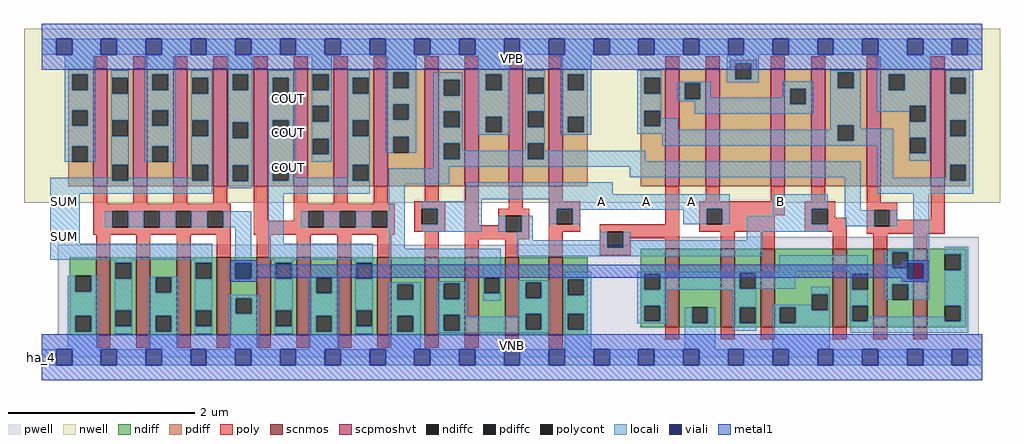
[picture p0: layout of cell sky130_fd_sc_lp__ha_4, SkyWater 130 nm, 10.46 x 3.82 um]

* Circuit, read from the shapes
.subckt sky130_fd_sc_lp__ha_4 A B VGND VNB VPB VPWR COUT SUM
XM1 SUM n1 VGND VNB sky130_fd_pr__nfet_01v8 w=0.84 l=0.15 m=4
XM2 COUT n2 VGND VNB sky130_fd_pr__nfet_01v8 w=0.84 l=0.15 m=4
XM3 n3 A VGND VNB sky130_fd_pr__nfet_01v8 w=0.84 l=0.15 m=2
XM4 n2 B n3 VNB sky130_fd_pr__nfet_01v8 w=0.84 l=0.15 m=2
XM5 VGND B n4 VNB sky130_fd_pr__nfet_01v8 w=0.84 l=0.15 m=2
XM6 n4 A VGND VNB sky130_fd_pr__nfet_01v8 w=0.84 l=0.15 m=2
XM7 n1 n2 n4 VNB sky130_fd_pr__nfet_01v8 w=0.84 l=0.15 m=2
XM8 SUM n1 VPWR VPB sky130_fd_pr__pfet_01v8_hvt w=1.26 l=0.15 m=4
XM9 COUT n2 VPWR VPB sky130_fd_pr__pfet_01v8_hvt w=1.26 l=0.15 m=4
XM10 n2 A VPWR VPB sky130_fd_pr__pfet_01v8_hvt w=1.26 l=0.15 m=2
XM11 VPWR B n2 VPB sky130_fd_pr__pfet_01v8_hvt w=1.26 l=0.15 m=2
XM12 n5 B n1 VPB sky130_fd_pr__pfet_01v8_hvt w=1.26 l=0.15 m=2
XM13 VPWR A n5 VPB sky130_fd_pr__pfet_01v8_hvt w=1.26 l=0.15 m=2
XM14 VPWR n2 n1 VPB sky130_fd_pr__pfet_01v8_hvt w=1.26 l=0.15 m=2
.ends

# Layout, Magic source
magic
tech sky130A
magscale 1 2
<< nwell >>
rect -38 331 2054 704
<< pwell >>
rect 1258 241 2008 259
rect 34 49 2008 241
rect 0 0 2016 49
<< scnmos >>
rect 117 47 147 215
rect 203 47 233 215
rect 289 47 319 215
rect 375 47 405 215
rect 461 47 491 215
rect 547 47 577 215
rect 633 47 663 215
rect 719 47 749 215
rect 821 47 851 215
rect 907 47 937 215
rect 993 47 1023 215
rect 1087 47 1117 215
rect 1337 65 1367 233
rect 1455 65 1485 233
rect 1541 65 1571 233
rect 1696 65 1726 233
rect 1782 65 1812 233
rect 1868 65 1898 233
<< scpmoshvt >>
rect 110 367 140 619
rect 196 367 226 619
rect 282 367 312 619
rect 368 367 398 619
rect 454 367 484 619
rect 540 367 570 619
rect 626 367 656 619
rect 712 367 742 619
rect 821 367 851 619
rect 907 367 937 619
rect 1001 367 1031 619
rect 1087 367 1117 619
rect 1337 367 1367 619
rect 1423 367 1453 619
rect 1563 367 1593 619
rect 1649 367 1679 619
rect 1768 367 1798 619
rect 1906 367 1936 619
<< ndiff >>
rect 60 175 117 215
rect 60 141 72 175
rect 106 141 117 175
rect 60 89 117 141
rect 60 55 72 89
rect 106 55 117 89
rect 60 47 117 55
rect 147 203 203 215
rect 147 169 158 203
rect 192 169 203 203
rect 147 101 203 169
rect 147 67 158 101
rect 192 67 203 101
rect 147 47 203 67
rect 233 172 289 215
rect 233 138 244 172
rect 278 138 289 172
rect 233 89 289 138
rect 233 55 244 89
rect 278 55 289 89
rect 233 47 289 55
rect 319 203 375 215
rect 319 169 330 203
rect 364 169 375 203
rect 319 101 375 169
rect 319 67 330 101
rect 364 67 375 101
rect 319 47 375 67
rect 405 127 461 215
rect 405 93 416 127
rect 450 93 461 127
rect 405 47 461 93
rect 491 203 547 215
rect 491 169 502 203
rect 536 169 547 203
rect 491 101 547 169
rect 491 67 502 101
rect 536 67 547 101
rect 491 47 547 67
rect 577 171 633 215
rect 577 137 588 171
rect 622 137 633 171
rect 577 89 633 137
rect 577 55 588 89
rect 622 55 633 89
rect 577 47 633 55
rect 663 203 719 215
rect 663 169 674 203
rect 708 169 719 203
rect 663 101 719 169
rect 663 67 674 101
rect 708 67 719 101
rect 663 47 719 67
rect 749 157 821 215
rect 749 123 762 157
rect 796 123 821 157
rect 749 89 821 123
rect 749 55 762 89
rect 796 55 821 89
rect 749 47 821 55
rect 851 159 907 215
rect 851 125 862 159
rect 896 125 907 159
rect 851 91 907 125
rect 851 57 862 91
rect 896 57 907 91
rect 851 47 907 57
rect 937 171 993 215
rect 937 137 948 171
rect 982 137 993 171
rect 937 47 993 137
rect 1023 161 1087 215
rect 1023 127 1037 161
rect 1071 127 1087 161
rect 1023 93 1087 127
rect 1023 59 1037 93
rect 1071 59 1087 93
rect 1023 47 1087 59
rect 1117 167 1170 215
rect 1117 133 1128 167
rect 1162 133 1170 167
rect 1117 93 1170 133
rect 1117 59 1128 93
rect 1162 59 1170 93
rect 1284 179 1337 233
rect 1284 145 1292 179
rect 1326 145 1337 179
rect 1284 111 1337 145
rect 1284 77 1292 111
rect 1326 77 1337 111
rect 1284 65 1337 77
rect 1367 107 1455 233
rect 1367 73 1394 107
rect 1428 73 1455 107
rect 1367 65 1455 73
rect 1485 181 1541 233
rect 1485 147 1496 181
rect 1530 147 1541 181
rect 1485 107 1541 147
rect 1485 73 1496 107
rect 1530 73 1541 107
rect 1485 65 1541 73
rect 1571 135 1696 233
rect 1571 107 1651 135
rect 1571 73 1582 107
rect 1616 101 1651 107
rect 1685 101 1696 135
rect 1616 73 1696 101
rect 1571 65 1696 73
rect 1726 179 1782 233
rect 1726 145 1737 179
rect 1771 145 1782 179
rect 1726 111 1782 145
rect 1726 77 1737 111
rect 1771 77 1782 111
rect 1726 65 1782 77
rect 1812 225 1868 233
rect 1812 191 1823 225
rect 1857 191 1868 225
rect 1812 157 1868 191
rect 1812 123 1823 157
rect 1857 123 1868 157
rect 1812 65 1868 123
rect 1898 221 1982 233
rect 1898 187 1936 221
rect 1970 187 1982 221
rect 1898 111 1982 187
rect 1898 77 1936 111
rect 1970 77 1982 111
rect 1898 65 1982 77
rect 1117 47 1170 59
<< pdiff >>
rect 1475 630 1533 638
rect 1475 619 1487 630
rect 57 607 110 619
rect 57 573 65 607
rect 99 573 110 607
rect 57 530 110 573
rect 57 496 65 530
rect 99 496 110 530
rect 57 453 110 496
rect 57 419 65 453
rect 99 419 110 453
rect 57 367 110 419
rect 140 599 196 619
rect 140 565 151 599
rect 185 565 196 599
rect 140 508 196 565
rect 140 474 151 508
rect 185 474 196 508
rect 140 413 196 474
rect 140 379 151 413
rect 185 379 196 413
rect 140 367 196 379
rect 226 607 282 619
rect 226 573 237 607
rect 271 573 282 607
rect 226 530 282 573
rect 226 496 237 530
rect 271 496 282 530
rect 226 453 282 496
rect 226 419 237 453
rect 271 419 282 453
rect 226 367 282 419
rect 312 599 368 619
rect 312 565 323 599
rect 357 565 368 599
rect 312 508 368 565
rect 312 474 323 508
rect 357 474 368 508
rect 312 413 368 474
rect 312 379 323 413
rect 357 379 368 413
rect 312 367 368 379
rect 398 607 454 619
rect 398 573 409 607
rect 443 573 454 607
rect 398 504 454 573
rect 398 470 409 504
rect 443 470 454 504
rect 398 412 454 470
rect 398 378 409 412
rect 443 378 454 412
rect 398 367 454 378
rect 484 599 540 619
rect 484 565 495 599
rect 529 565 540 599
rect 484 508 540 565
rect 484 474 495 508
rect 529 474 540 508
rect 484 413 540 474
rect 484 379 495 413
rect 529 379 540 413
rect 484 367 540 379
rect 570 607 626 619
rect 570 573 581 607
rect 615 573 626 607
rect 570 539 626 573
rect 570 505 581 539
rect 615 505 626 539
rect 570 469 626 505
rect 570 435 581 469
rect 615 435 626 469
rect 570 367 626 435
rect 656 599 712 619
rect 656 565 667 599
rect 701 565 712 599
rect 656 508 712 565
rect 656 474 667 508
rect 701 474 712 508
rect 656 413 712 474
rect 656 379 667 413
rect 701 379 712 413
rect 656 367 712 379
rect 742 611 821 619
rect 742 577 753 611
rect 787 577 821 611
rect 742 543 821 577
rect 742 509 753 543
rect 787 509 821 543
rect 742 473 821 509
rect 742 439 753 473
rect 787 439 821 473
rect 742 367 821 439
rect 851 595 907 619
rect 851 561 862 595
rect 896 561 907 595
rect 851 527 907 561
rect 851 493 862 527
rect 896 493 907 527
rect 851 459 907 493
rect 851 425 862 459
rect 896 425 907 459
rect 851 367 907 425
rect 937 607 1001 619
rect 937 573 952 607
rect 986 573 1001 607
rect 937 516 1001 573
rect 937 482 952 516
rect 986 482 1001 516
rect 937 367 1001 482
rect 1031 599 1087 619
rect 1031 565 1042 599
rect 1076 565 1087 599
rect 1031 527 1087 565
rect 1031 493 1042 527
rect 1076 493 1087 527
rect 1031 459 1087 493
rect 1031 425 1042 459
rect 1076 425 1087 459
rect 1031 367 1087 425
rect 1117 607 1170 619
rect 1117 573 1128 607
rect 1162 573 1170 607
rect 1117 516 1170 573
rect 1117 482 1128 516
rect 1162 482 1170 516
rect 1117 367 1170 482
rect 1284 599 1337 619
rect 1284 565 1292 599
rect 1326 565 1337 599
rect 1284 529 1337 565
rect 1284 495 1292 529
rect 1326 495 1337 529
rect 1284 367 1337 495
rect 1367 587 1423 619
rect 1367 553 1378 587
rect 1412 553 1423 587
rect 1367 367 1423 553
rect 1453 596 1487 619
rect 1521 619 1533 630
rect 1521 596 1563 619
rect 1453 367 1563 596
rect 1593 576 1649 619
rect 1593 542 1604 576
rect 1638 542 1649 576
rect 1593 367 1649 542
rect 1679 611 1768 619
rect 1679 577 1706 611
rect 1740 577 1768 611
rect 1679 498 1768 577
rect 1679 464 1706 498
rect 1740 464 1768 498
rect 1679 367 1768 464
rect 1798 607 1906 619
rect 1798 573 1816 607
rect 1850 573 1906 607
rect 1798 539 1906 573
rect 1798 505 1861 539
rect 1895 505 1906 539
rect 1798 471 1906 505
rect 1798 437 1861 471
rect 1895 437 1906 471
rect 1798 367 1906 437
rect 1936 599 1989 619
rect 1936 565 1947 599
rect 1981 565 1989 599
rect 1936 508 1989 565
rect 1936 474 1947 508
rect 1981 474 1989 508
rect 1936 413 1989 474
rect 1936 379 1947 413
rect 1981 379 1989 413
rect 1936 367 1989 379
<< ndiffc >>
rect 72 141 106 175
rect 72 55 106 89
rect 158 169 192 203
rect 158 67 192 101
rect 244 138 278 172
rect 244 55 278 89
rect 330 169 364 203
rect 330 67 364 101
rect 416 93 450 127
rect 502 169 536 203
rect 502 67 536 101
rect 588 137 622 171
rect 588 55 622 89
rect 674 169 708 203
rect 674 67 708 101
rect 762 123 796 157
rect 762 55 796 89
rect 862 125 896 159
rect 862 57 896 91
rect 948 137 982 171
rect 1037 127 1071 161
rect 1037 59 1071 93
rect 1128 133 1162 167
rect 1128 59 1162 93
rect 1292 145 1326 179
rect 1292 77 1326 111
rect 1394 73 1428 107
rect 1496 147 1530 181
rect 1496 73 1530 107
rect 1582 73 1616 107
rect 1651 101 1685 135
rect 1737 145 1771 179
rect 1737 77 1771 111
rect 1823 191 1857 225
rect 1823 123 1857 157
rect 1936 187 1970 221
rect 1936 77 1970 111
<< pdiffc >>
rect 65 573 99 607
rect 65 496 99 530
rect 65 419 99 453
rect 151 565 185 599
rect 151 474 185 508
rect 151 379 185 413
rect 237 573 271 607
rect 237 496 271 530
rect 237 419 271 453
rect 323 565 357 599
rect 323 474 357 508
rect 323 379 357 413
rect 409 573 443 607
rect 409 470 443 504
rect 409 378 443 412
rect 495 565 529 599
rect 495 474 529 508
rect 495 379 529 413
rect 581 573 615 607
rect 581 505 615 539
rect 581 435 615 469
rect 667 565 701 599
rect 667 474 701 508
rect 667 379 701 413
rect 753 577 787 611
rect 753 509 787 543
rect 753 439 787 473
rect 862 561 896 595
rect 862 493 896 527
rect 862 425 896 459
rect 952 573 986 607
rect 952 482 986 516
rect 1042 565 1076 599
rect 1042 493 1076 527
rect 1042 425 1076 459
rect 1128 573 1162 607
rect 1128 482 1162 516
rect 1292 565 1326 599
rect 1292 495 1326 529
rect 1378 553 1412 587
rect 1487 596 1521 630
rect 1604 542 1638 576
rect 1706 577 1740 611
rect 1706 464 1740 498
rect 1816 573 1850 607
rect 1861 505 1895 539
rect 1861 437 1895 471
rect 1947 565 1981 599
rect 1947 474 1981 508
rect 1947 379 1981 413
<< poly >>
rect 110 619 140 645
rect 196 619 226 645
rect 282 619 312 645
rect 368 619 398 645
rect 454 619 484 645
rect 540 619 570 645
rect 626 619 656 645
rect 712 619 742 645
rect 821 619 851 645
rect 907 619 937 645
rect 1001 619 1031 645
rect 1087 619 1117 645
rect 1337 619 1367 645
rect 1423 619 1453 645
rect 1563 619 1593 645
rect 1649 619 1679 645
rect 1768 619 1798 645
rect 1906 619 1936 645
rect 110 329 140 367
rect 196 329 226 367
rect 282 329 312 367
rect 368 329 398 367
rect 110 313 405 329
rect 110 279 151 313
rect 185 279 219 313
rect 253 279 287 313
rect 321 279 355 313
rect 389 279 405 313
rect 110 263 405 279
rect 454 293 484 367
rect 540 329 570 367
rect 626 329 656 367
rect 712 329 742 367
rect 821 335 851 367
rect 540 313 757 329
rect 540 293 571 313
rect 454 279 571 293
rect 605 279 639 313
rect 673 279 707 313
rect 741 279 757 313
rect 454 263 757 279
rect 799 319 865 335
rect 799 285 815 319
rect 849 285 865 319
rect 799 269 865 285
rect 907 283 937 367
rect 1001 319 1031 367
rect 1087 335 1117 367
rect 1087 319 1154 335
rect 979 303 1045 319
rect 979 283 995 303
rect 907 269 995 283
rect 1029 269 1045 303
rect 117 215 147 263
rect 203 215 233 263
rect 289 215 319 263
rect 375 215 405 263
rect 461 215 491 263
rect 547 215 577 263
rect 633 215 663 263
rect 719 215 749 263
rect 821 215 851 269
rect 907 253 1045 269
rect 1087 285 1104 319
rect 1138 285 1154 319
rect 1337 285 1367 367
rect 1423 335 1453 367
rect 1563 335 1593 367
rect 1649 335 1679 367
rect 1087 269 1154 285
rect 1196 269 1367 285
rect 1409 319 1593 335
rect 1409 285 1425 319
rect 1459 305 1593 319
rect 1635 319 1701 335
rect 1459 285 1571 305
rect 1409 269 1571 285
rect 1635 285 1651 319
rect 1685 299 1701 319
rect 1768 331 1798 367
rect 1768 315 1834 331
rect 1685 285 1726 299
rect 1635 269 1726 285
rect 907 215 937 253
rect 993 215 1023 253
rect 1087 215 1117 269
rect 1196 235 1212 269
rect 1246 255 1367 269
rect 1246 235 1262 255
rect 1196 219 1262 235
rect 1337 233 1367 255
rect 1455 233 1485 269
rect 1541 233 1571 269
rect 1696 233 1726 269
rect 1768 281 1784 315
rect 1818 295 1834 315
rect 1906 295 1936 367
rect 1818 281 1936 295
rect 1768 265 1936 281
rect 1782 233 1812 265
rect 1868 233 1898 265
rect 117 21 147 47
rect 203 21 233 47
rect 289 21 319 47
rect 375 21 405 47
rect 461 21 491 47
rect 547 21 577 47
rect 633 21 663 47
rect 719 21 749 47
rect 821 21 851 47
rect 907 21 937 47
rect 993 21 1023 47
rect 1087 21 1117 47
rect 1337 39 1367 65
rect 1455 39 1485 65
rect 1541 39 1571 65
rect 1696 39 1726 65
rect 1782 39 1812 65
rect 1868 39 1898 65
<< polycont >>
rect 151 279 185 313
rect 219 279 253 313
rect 287 279 321 313
rect 355 279 389 313
rect 571 279 605 313
rect 639 279 673 313
rect 707 279 741 313
rect 815 285 849 319
rect 995 269 1029 303
rect 1104 285 1138 319
rect 1425 285 1459 319
rect 1651 285 1685 319
rect 1212 235 1246 269
rect 1784 281 1818 315
<< locali >>
rect 0 649 31 683
rect 65 649 127 683
rect 161 649 223 683
rect 257 649 319 683
rect 353 649 415 683
rect 449 649 511 683
rect 545 649 607 683
rect 641 649 703 683
rect 737 649 799 683
rect 833 649 895 683
rect 929 649 991 683
rect 1025 649 1087 683
rect 1121 649 1183 683
rect 1217 649 1279 683
rect 1313 649 1375 683
rect 1409 649 1471 683
rect 1505 649 1567 683
rect 1601 649 1663 683
rect 1697 649 1759 683
rect 1793 649 1855 683
rect 1889 649 1951 683
rect 1985 649 2016 683
rect 49 607 115 649
rect 49 573 65 607
rect 99 573 115 607
rect 49 530 115 573
rect 49 496 65 530
rect 99 496 115 530
rect 49 453 115 496
rect 49 419 65 453
rect 99 419 115 453
rect 149 599 187 615
rect 149 565 151 599
rect 185 565 187 599
rect 149 508 187 565
rect 149 474 151 508
rect 185 474 187 508
rect 149 413 187 474
rect 221 607 287 649
rect 221 573 237 607
rect 271 573 287 607
rect 221 530 287 573
rect 221 496 237 530
rect 271 496 287 530
rect 221 453 287 496
rect 221 419 237 453
rect 271 419 287 453
rect 321 599 366 615
rect 321 565 323 599
rect 357 565 366 599
rect 321 508 366 565
rect 321 474 323 508
rect 357 474 366 508
rect 149 385 151 413
rect 18 379 151 385
rect 185 385 187 413
rect 321 413 366 474
rect 321 385 323 413
rect 185 379 323 385
rect 357 379 366 413
rect 18 351 366 379
rect 400 607 451 649
rect 400 573 409 607
rect 443 573 451 607
rect 400 504 451 573
rect 400 470 409 504
rect 443 470 451 504
rect 400 412 451 470
rect 400 378 409 412
rect 443 378 451 412
rect 400 362 451 378
rect 485 599 545 615
rect 485 565 495 599
rect 529 565 545 599
rect 485 508 545 565
rect 485 474 495 508
rect 529 474 545 508
rect 485 413 545 474
rect 579 607 622 649
rect 579 573 581 607
rect 615 573 622 607
rect 579 539 622 573
rect 579 505 581 539
rect 615 505 622 539
rect 579 469 622 505
rect 579 435 581 469
rect 615 435 622 469
rect 579 419 622 435
rect 656 599 703 615
rect 656 565 667 599
rect 701 565 703 599
rect 656 508 703 565
rect 656 474 667 508
rect 701 474 703 508
rect 485 379 495 413
rect 529 385 545 413
rect 656 413 703 474
rect 737 611 803 649
rect 737 577 753 611
rect 787 577 803 611
rect 737 543 803 577
rect 737 509 753 543
rect 787 509 803 543
rect 737 473 803 509
rect 737 439 753 473
rect 787 439 803 473
rect 839 595 902 611
rect 839 561 862 595
rect 896 561 902 595
rect 839 527 902 561
rect 839 493 862 527
rect 896 493 902 527
rect 839 459 902 493
rect 936 607 1002 649
rect 936 573 952 607
rect 986 573 1002 607
rect 936 516 1002 573
rect 936 482 952 516
rect 986 482 1002 516
rect 936 477 1002 482
rect 1036 599 1078 615
rect 1036 565 1042 599
rect 1076 565 1078 599
rect 1036 527 1078 565
rect 1036 493 1042 527
rect 1076 493 1078 527
rect 656 385 667 413
rect 529 379 667 385
rect 701 379 703 413
rect 839 425 862 459
rect 896 443 902 459
rect 1036 459 1078 493
rect 1112 607 1178 649
rect 1468 630 1537 649
rect 1112 573 1128 607
rect 1162 573 1178 607
rect 1112 516 1178 573
rect 1112 482 1128 516
rect 1162 482 1178 516
rect 1112 477 1178 482
rect 1276 599 1328 615
rect 1276 565 1292 599
rect 1326 565 1328 599
rect 1468 596 1487 630
rect 1521 596 1537 630
rect 1276 529 1328 565
rect 1362 587 1434 591
rect 1468 590 1537 596
rect 1690 611 1756 615
rect 1362 553 1378 587
rect 1412 556 1434 587
rect 1588 576 1654 592
rect 1588 556 1604 576
rect 1412 553 1604 556
rect 1362 549 1604 553
rect 1276 495 1292 529
rect 1326 513 1328 529
rect 1400 542 1604 549
rect 1638 542 1654 576
rect 1400 522 1654 542
rect 1690 577 1706 611
rect 1740 577 1756 611
rect 1326 495 1364 513
rect 1276 488 1364 495
rect 1690 498 1756 577
rect 1790 607 1904 649
rect 1790 573 1816 607
rect 1850 573 1904 607
rect 1790 539 1904 573
rect 1790 526 1861 539
rect 1690 488 1706 498
rect 1276 479 1706 488
rect 1036 443 1042 459
rect 896 425 1042 443
rect 1076 443 1078 459
rect 1330 464 1706 479
rect 1740 490 1756 498
rect 1859 505 1861 526
rect 1895 505 1904 539
rect 1740 464 1825 490
rect 1330 454 1825 464
rect 1076 425 1294 443
rect 839 420 1294 425
rect 839 409 1755 420
rect 839 405 873 409
rect 485 351 703 379
rect 744 371 873 405
rect 1260 386 1755 409
rect 18 243 81 351
rect 135 279 151 313
rect 185 279 219 313
rect 253 279 287 313
rect 321 279 355 313
rect 389 279 449 313
rect 18 209 366 243
rect 156 203 194 209
rect 56 141 72 175
rect 106 141 122 175
rect 56 89 122 141
rect 56 55 72 89
rect 106 55 122 89
rect 56 17 122 55
rect 156 169 158 203
rect 192 169 194 203
rect 328 203 366 209
rect 156 101 194 169
rect 156 67 158 101
rect 192 67 194 101
rect 156 51 194 67
rect 228 172 294 173
rect 228 138 244 172
rect 278 138 294 172
rect 228 89 294 138
rect 228 55 244 89
rect 278 55 294 89
rect 228 17 294 55
rect 328 169 330 203
rect 364 169 366 203
rect 328 101 366 169
rect 415 202 449 279
rect 485 243 519 351
rect 744 313 778 371
rect 909 350 1224 375
rect 909 339 1475 350
rect 909 335 943 339
rect 555 279 571 313
rect 605 279 639 313
rect 673 279 707 313
rect 741 279 778 313
rect 485 209 710 243
rect 500 203 538 209
rect 500 169 502 203
rect 536 169 538 203
rect 672 203 710 209
rect 328 67 330 101
rect 364 67 366 101
rect 328 51 366 67
rect 400 127 466 134
rect 400 93 416 127
rect 450 93 466 127
rect 400 17 466 93
rect 500 101 538 169
rect 500 67 502 101
rect 536 67 538 101
rect 500 51 538 67
rect 572 171 638 173
rect 572 137 588 171
rect 622 137 638 171
rect 572 89 638 137
rect 572 55 588 89
rect 622 55 638 89
rect 572 17 638 55
rect 672 169 674 203
rect 708 169 710 203
rect 744 233 778 279
rect 815 319 943 335
rect 849 285 943 319
rect 1088 319 1475 339
rect 815 269 943 285
rect 979 269 995 303
rect 1029 269 1052 303
rect 1088 285 1104 319
rect 1138 316 1425 319
rect 1138 285 1154 316
rect 1375 285 1425 316
rect 1459 285 1475 319
rect 1567 319 1685 350
rect 1567 303 1651 319
rect 1511 285 1651 303
rect 1511 269 1685 285
rect 1721 315 1755 386
rect 1791 385 1825 454
rect 1859 471 1904 505
rect 1859 437 1861 471
rect 1895 437 1904 471
rect 1859 421 1904 437
rect 1938 599 1997 615
rect 1938 565 1947 599
rect 1981 565 1997 599
rect 1938 508 1997 565
rect 1938 474 1947 508
rect 1981 474 1997 508
rect 1938 413 1997 474
rect 1938 385 1947 413
rect 1791 379 1947 385
rect 1981 379 1997 413
rect 1791 351 1997 379
rect 1721 281 1784 315
rect 1818 281 1834 315
rect 1018 251 1052 269
rect 1196 251 1212 269
rect 1018 235 1212 251
rect 1246 251 1262 269
rect 1511 251 1545 269
rect 1246 235 1545 251
rect 744 199 984 233
rect 1018 217 1545 235
rect 1868 229 1902 351
rect 1807 225 1902 229
rect 672 101 710 169
rect 946 171 984 199
rect 1581 185 1771 219
rect 1581 183 1615 185
rect 672 67 674 101
rect 708 67 710 101
rect 672 51 710 67
rect 744 157 812 161
rect 744 123 762 157
rect 796 123 812 157
rect 744 89 812 123
rect 744 55 762 89
rect 796 55 812 89
rect 744 17 812 55
rect 846 159 912 163
rect 846 125 862 159
rect 896 125 912 159
rect 846 91 912 125
rect 946 137 948 171
rect 982 137 984 171
rect 1121 167 1178 183
rect 946 121 984 137
rect 1021 161 1087 165
rect 1021 127 1037 161
rect 1071 127 1087 161
rect 846 57 862 91
rect 896 87 912 91
rect 1021 93 1087 127
rect 1021 87 1037 93
rect 896 59 1037 87
rect 1071 59 1087 93
rect 896 57 1087 59
rect 846 53 1087 57
rect 1121 133 1128 167
rect 1162 133 1178 167
rect 1121 93 1178 133
rect 1121 59 1128 93
rect 1162 59 1178 93
rect 1276 181 1615 183
rect 1276 179 1496 181
rect 1276 145 1292 179
rect 1326 147 1496 179
rect 1530 147 1615 181
rect 1733 179 1771 185
rect 1326 145 1532 147
rect 1276 111 1342 145
rect 1276 77 1292 111
rect 1326 77 1342 111
rect 1480 107 1532 145
rect 1649 135 1689 151
rect 1649 113 1651 135
rect 1276 73 1342 77
rect 1378 73 1394 107
rect 1428 73 1444 107
rect 1121 17 1178 59
rect 1378 17 1444 73
rect 1480 73 1496 107
rect 1530 73 1532 107
rect 1480 57 1532 73
rect 1566 107 1651 113
rect 1566 73 1582 107
rect 1616 101 1651 107
rect 1685 101 1689 135
rect 1616 73 1689 101
rect 1566 17 1689 73
rect 1733 145 1737 179
rect 1733 111 1771 145
rect 1807 191 1823 225
rect 1857 202 1902 225
rect 1807 168 1855 191
rect 1889 168 1902 202
rect 1807 157 1902 168
rect 1807 123 1823 157
rect 1857 123 1902 157
rect 1936 221 1986 237
rect 1970 187 1986 221
rect 1733 77 1737 111
rect 1936 111 1986 187
rect 1771 77 1936 87
rect 1970 77 1986 111
rect 1733 53 1986 77
rect 0 -17 31 17
rect 65 -17 127 17
rect 161 -17 223 17
rect 257 -17 319 17
rect 353 -17 415 17
rect 449 -17 511 17
rect 545 -17 607 17
rect 641 -17 703 17
rect 737 -17 799 17
rect 833 -17 895 17
rect 929 -17 991 17
rect 1025 -17 1087 17
rect 1121 -17 1183 17
rect 1217 -17 1279 17
rect 1313 -17 1375 17
rect 1409 -17 1471 17
rect 1505 -17 1567 17
rect 1601 -17 1663 17
rect 1697 -17 1759 17
rect 1793 -17 1855 17
rect 1889 -17 1951 17
rect 1985 -17 2016 17
<< viali >>
rect 31 649 65 683
rect 127 649 161 683
rect 223 649 257 683
rect 319 649 353 683
rect 415 649 449 683
rect 511 649 545 683
rect 607 649 641 683
rect 703 649 737 683
rect 799 649 833 683
rect 895 649 929 683
rect 991 649 1025 683
rect 1087 649 1121 683
rect 1183 649 1217 683
rect 1279 649 1313 683
rect 1375 649 1409 683
rect 1471 649 1505 683
rect 1567 649 1601 683
rect 1663 649 1697 683
rect 1759 649 1793 683
rect 1855 649 1889 683
rect 1951 649 1985 683
rect 415 168 449 202
rect 1855 191 1857 202
rect 1857 191 1889 202
rect 1855 168 1889 191
rect 31 -17 65 17
rect 127 -17 161 17
rect 223 -17 257 17
rect 319 -17 353 17
rect 415 -17 449 17
rect 511 -17 545 17
rect 607 -17 641 17
rect 703 -17 737 17
rect 799 -17 833 17
rect 895 -17 929 17
rect 991 -17 1025 17
rect 1087 -17 1121 17
rect 1183 -17 1217 17
rect 1279 -17 1313 17
rect 1375 -17 1409 17
rect 1471 -17 1505 17
rect 1567 -17 1601 17
rect 1663 -17 1697 17
rect 1759 -17 1793 17
rect 1855 -17 1889 17
rect 1951 -17 1985 17
<< metal1 >>
rect 0 683 2016 715
rect 0 649 31 683
rect 65 649 127 683
rect 161 649 223 683
rect 257 649 319 683
rect 353 649 415 683
rect 449 649 511 683
rect 545 649 607 683
rect 641 649 703 683
rect 737 649 799 683
rect 833 649 895 683
rect 929 649 991 683
rect 1025 649 1087 683
rect 1121 649 1183 683
rect 1217 649 1279 683
rect 1313 649 1375 683
rect 1409 649 1471 683
rect 1505 649 1567 683
rect 1601 649 1663 683
rect 1697 649 1759 683
rect 1793 649 1855 683
rect 1889 649 1951 683
rect 1985 649 2016 683
rect 0 617 2016 649
rect 403 202 461 208
rect 403 168 415 202
rect 449 199 461 202
rect 1843 202 1901 208
rect 1843 199 1855 202
rect 449 171 1855 199
rect 449 168 461 171
rect 403 162 461 168
rect 1843 168 1855 171
rect 1889 168 1901 202
rect 1843 162 1901 168
rect 0 17 2016 49
rect 0 -17 31 17
rect 65 -17 127 17
rect 161 -17 223 17
rect 257 -17 319 17
rect 353 -17 415 17
rect 449 -17 511 17
rect 545 -17 607 17
rect 641 -17 703 17
rect 737 -17 799 17
rect 833 -17 895 17
rect 929 -17 991 17
rect 1025 -17 1087 17
rect 1121 -17 1183 17
rect 1217 -17 1279 17
rect 1313 -17 1375 17
rect 1409 -17 1471 17
rect 1505 -17 1567 17
rect 1601 -17 1663 17
rect 1697 -17 1759 17
rect 1793 -17 1855 17
rect 1889 -17 1951 17
rect 1985 -17 2016 17
rect 0 -49 2016 -17
<< labels >>
flabel pwell s 0 0 2016 49 0 FreeSans 200 0 0 0 VNB
port 4 nsew ground bidirectional
flabel nwell s 0 617 2016 666 0 FreeSans 200 0 0 0 VPB
port 5 nsew power bidirectional
rlabel comment s 0 0 0 0 4 ha_4
flabel metal1 s 0 617 2016 666 0 FreeSans 340 0 0 0 VPWR
port 6 nsew power bidirectional
flabel metal1 s 0 0 2016 49 0 FreeSans 340 0 0 0 VGND
port 3 nsew ground bidirectional
flabel locali s 511 390 545 424 0 FreeSans 340 0 0 0 COUT
port 7 nsew signal output
flabel locali s 511 464 545 498 0 FreeSans 340 0 0 0 COUT
port 7 nsew signal output
flabel locali s 511 538 545 572 0 FreeSans 340 0 0 0 COUT
port 7 nsew signal output
flabel locali s 31 242 65 276 0 FreeSans 340 0 0 0 SUM
port 8 nsew signal output
flabel locali s 31 316 65 350 0 FreeSans 340 0 0 0 SUM
port 8 nsew signal output
flabel locali s 1375 316 1409 350 0 FreeSans 340 0 0 0 A
port 1 nsew signal input
flabel locali s 1567 316 1601 350 0 FreeSans 340 0 0 0 B
port 2 nsew signal input
flabel locali s 1279 316 1313 350 0 FreeSans 340 0 0 0 A
port 1 nsew signal input
flabel locali s 1183 316 1217 350 0 FreeSans 340 0 0 0 A
port 1 nsew signal input
<< properties >>
string LEFsite unit
string LEFclass CORE
string FIXED_BBOX 0 0 2016 666
string GDS_FILE $PDKPATH/libs.ref/sky130_fd_sc_lp/gds/sky130_fd_sc_lp.gds
string LEFsymmetry X Y R90
string GDS_END 6694812
string GDS_START 6678586
<< end >>
